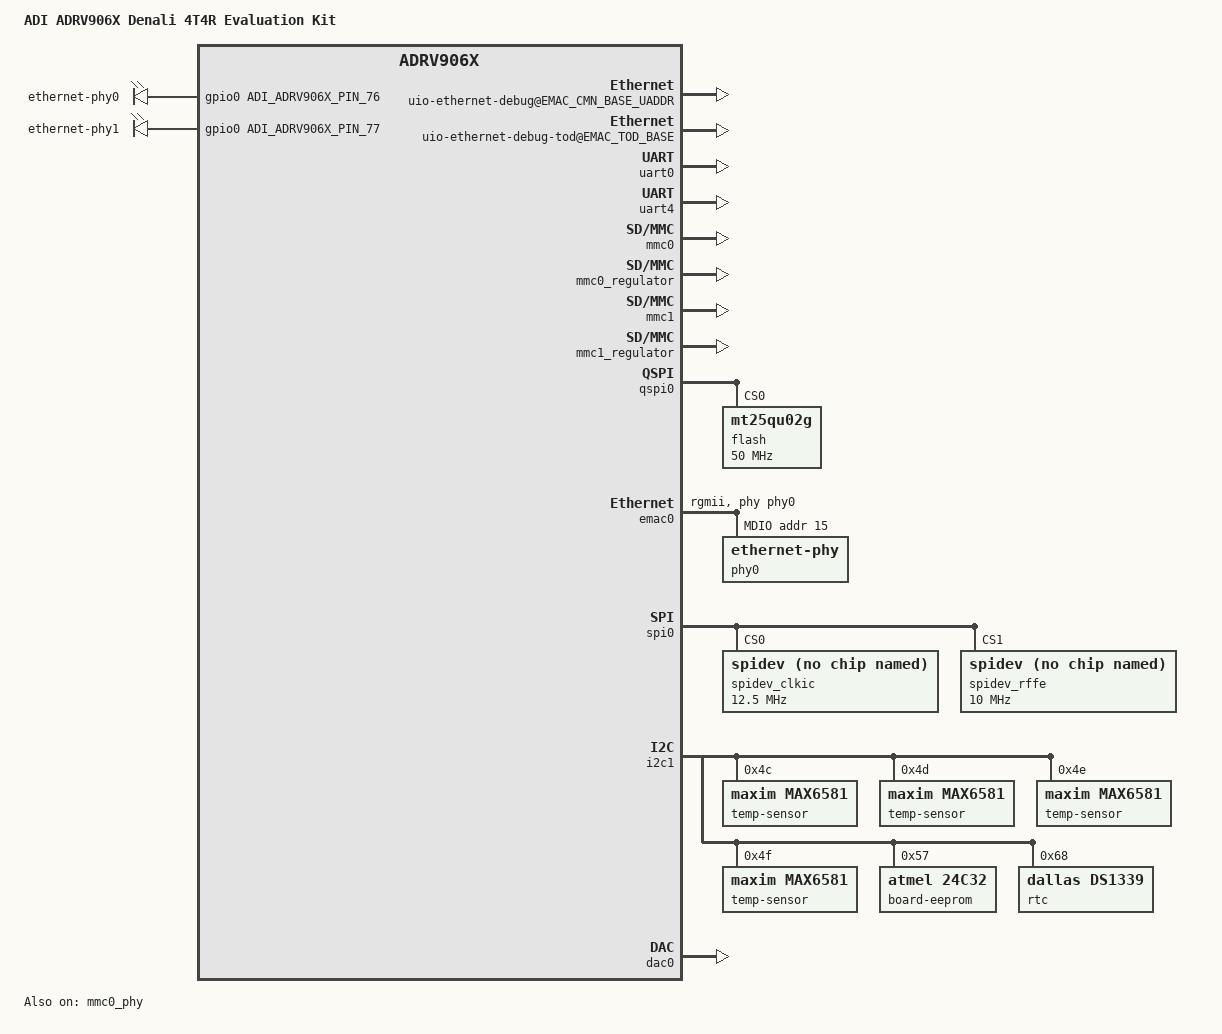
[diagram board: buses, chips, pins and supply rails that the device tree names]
// SPDX-License-Identifier: GPL-2.0
/*
 * Copyright (c) 2023, Analog Devices Incorporated, All Rights Reserved
 */

#include "adrv906x.dtsi"
#include "adrv906x-sysc.dtsi"
#include "adrv906x-protium.dtsi"
#include "adrv906x-eth-4t4r.dtsi"

/ {
	model = "ADI ADRV906X Denali 4T4R Evaluation Kit";
	compatible = "adi,adrv906x-denali-4", "adi,adrv906x";

	chosen {
		bootargs = "console=ttyAMA0,115200n8 earlycon=pl011,0x20060000 rootwait uio_pdrv_genirq.of_id=generic-uio panic=-1 reboot=w";
		stdout-path = &uart0;
	};

	uio-ethernet-debug@EMAC_CMN_BASE_UADDR {
		compatible = "generic-uio";
		reg = <EMAC_CMN_BASE 0x000B0000>;
	};

	uio-ethernet-debug-tod@EMAC_TOD_BASE {
		compatible = "generic-uio";
		reg = <EMAC_TOD_BASE 0xff>;
	};

	uio-ndma@NDMA_0_RX_BASE_UADDR {
		compatible = "generic-uio";
		reg = <NDMA_0_RX_BASE 0x9C0 NDMA_0_TX_BASE 0x14
			   NDMA_1_RX_BASE 0x9C0 NDMA_1_TX_BASE 0x14>;
	};

	leds: gpio-leds {
		compatible = "gpio-leds";
		ethernet-phy0 {
			gpios = <&gpio0 ADI_ADRV906X_PIN_76 GPIO_ACTIVE_HIGH>;
			default-state = "off";
			linux,default-trigger = "2b300000.adrv906x_net--1:00:link";
		};
		ethernet-phy1 {
			gpios = <&gpio0 ADI_ADRV906X_PIN_77 GPIO_ACTIVE_HIGH>;
			default-state = "off";
			linux,default-trigger = "2b300000.adrv906x_net--1:01:link";
		};
	};
};

&uart0 {
	status = "okay";
};

/* Remove CTSIN and RTSOUT. CTSIN conflicts with GPIO 51 below */
&pinctrl_uart4 {
	adi,pins = <
	UART4_RXSIN_PIN		(ADI_CONFIG_ENABLE_SCHMITT_TRIGGER)
	UART4_TXSOUT_PIN	(ADI_CONFIG_NO_PULL  | ADI_CONFIG_DRIVE_STRENGTH_4)
	>;
};

&uart4 {
	status = "okay";
};

&mmc0 {
	status = "okay";
};

&mmc0_regulator {
	status = "okay";
};

&mmc0_phy {
	status = "okay";
};

/* BRINGUP TODO: Remove when 50MHz SD is supported */
&pinctrl_mmc1_sd {
	adi,pins = <
		SD_CLK_SEL_PIN		(ADI_CONFIG_NO_PULL                | ADI_CONFIG_DRIVE_STRENGTH_4)
		SD_CMD_PIN		(ADI_CONFIG_ENABLE_SCHMITT_TRIGGER | ADI_CONFIG_DRIVE_STRENGTH_4)
		SD_DATA0_PIN		(ADI_CONFIG_ENABLE_SCHMITT_TRIGGER | ADI_CONFIG_DRIVE_STRENGTH_1)
		SD_DATA1_PIN		(ADI_CONFIG_ENABLE_SCHMITT_TRIGGER | ADI_CONFIG_DRIVE_STRENGTH_1)
		SD_DATA2_PIN		(ADI_CONFIG_ENABLE_SCHMITT_TRIGGER | ADI_CONFIG_DRIVE_STRENGTH_1)
		SD_DATA3_PIN		(ADI_CONFIG_ENABLE_SCHMITT_TRIGGER | ADI_CONFIG_DRIVE_STRENGTH_1)
		SD_CARDDETECT_PIN	(ADI_CONFIG_ENABLE_SCHMITT_TRIGGER | ADI_CONFIG_DRIVE_STRENGTH_4)
	>;
	};

&mmc1 {
	status = "okay";
	/* BRINGUP TODO: Set this back to 50MHz */
	max-frequency = <25000000>;
};

&mmc1_regulator {
	status = "okay";
};

&qspi0 {
	status = "okay";
	storage,flash-handle = <&flash>;

	flash: mt25q@0 {
		compatible = "mt25qu02g", "jedec,spi-nor";
		spi-max-frequency = <50000000>;
		reg = <0>;
		spi-tx-bus-width = <4>;
		spi-rx-bus-width = <4>;
		adi,enable-dma;

		#include "adrv906x-nor-flash-part.dtsi"
	};
};

&qspi0_dma {
	status = "okay";
};

&emac0 {
	status = "okay";
	phy-mode = "rgmii";

	phy-handle = <&phy0>;

	mdio0 {
		#address-cells = <1>;
		#size-cells = <0>;
		compatible = "snps,dwmac-mdio";
		phy0: ethernet-phy@0 {
			reg = <15>;
		};
        };
};

&spi0 {
	status = "okay";

	spidev_clkic@0 {
		compatible = "linux,spidev";
		spi-max-frequency = <12500000>;
		reg = <0>;
	};

	spidev_rffe@1 {
		compatible = "linux,spidev";
		spi-max-frequency = <10000000>;
		reg = <1>;
	};
};

&i2c1 {
	status = "okay";

	/* MAX6581 temp sensor. Bus addr can vary from board
	 * to board, so four different entries are needed.
	 */
	temp-sensor@4c {
		compatible = "maxim,max6581";
		reg = <0x4c>;
		smbus-timeout-disable;
		extended-range-enable;
		resistance-cancellation;
		alert-mask = <0x7f>; 		/* Ignore all alerts */
		over-temperature-mask = <0x7f>;	/* Ignore all alerts */
	};
	temp-sensor@4d {
		compatible = "maxim,max6581";
		reg = <0x4d>;
		smbus-timeout-disable;
		extended-range-enable;
		resistance-cancellation;
		alert-mask = <0x7f>;		/* Ignore all alerts */
		over-temperature-mask = <0x7f>;	/* Ignore all alerts */
	};
	temp-sensor@4e {
		compatible = "maxim,max6581";
		reg = <0x4e>;
		smbus-timeout-disable;
		extended-range-enable;
		resistance-cancellation;
		alert-mask = <0x7f>;        /* Ignore all alerts */
		over-temperature-mask = <0x7f>; /* Ignore all alerts */
	};
	temp-sensor@4f {
		compatible = "maxim,max6581";
		reg = <0x4f>;
		smbus-timeout-disable;
		extended-range-enable;
		resistance-cancellation;
		alert-mask = <0x7f>;		/* Ignore all alerts */
		over-temperature-mask = <0x7f>;	/* Ignore all alerts */
	};

	board-eeprom@57 {
		compatible = "atmel,24c32";
		reg = <0x57>;
	};

	rtc@68 {
		compatible = "dallas,ds1339";
		reg = <0x68>;
	};
};

&dac0 {
	status = "okay";
	pinctrl-names = "default";
	pinctrl-0 = <&pinctrl_pwm13>;
};

&pinctrl_hog {
	adi,pins = <
	/* Pins 7-17: RFFE signals */
	RFFE_0_PIN		(ADI_CONFIG_NO_PULL  | ADI_CONFIG_DRIVE_STRENGTH_4)
	RFFE_1_PIN		(ADI_CONFIG_NO_PULL  | ADI_CONFIG_DRIVE_STRENGTH_4)
	RFFE_2_PIN		(ADI_CONFIG_NO_PULL  | ADI_CONFIG_DRIVE_STRENGTH_4)
	RFFE_3_PIN		(ADI_CONFIG_NO_PULL  | ADI_CONFIG_DRIVE_STRENGTH_4)
	RFFE_4_PIN		(ADI_CONFIG_NO_PULL  | ADI_CONFIG_DRIVE_STRENGTH_4)
	RFFE_5_PIN		(ADI_CONFIG_NO_PULL  | ADI_CONFIG_DRIVE_STRENGTH_4)
	RFFE_6_PIN		(ADI_CONFIG_NO_PULL  | ADI_CONFIG_DRIVE_STRENGTH_4)
	RFFE_7_PIN		(ADI_CONFIG_NO_PULL  | ADI_CONFIG_DRIVE_STRENGTH_4)
	RFFE_8_PIN		(ADI_CONFIG_NO_PULL  | ADI_CONFIG_DRIVE_STRENGTH_4)
	RFFE_9_PIN		(ADI_CONFIG_NO_PULL  | ADI_CONFIG_DRIVE_STRENGTH_4)
	RFFE_10_PIN		(ADI_CONFIG_NO_PULL  | ADI_CONFIG_DRIVE_STRENGTH_4)

	/* Pin 51: Board pushbutton */
	A55_GPIO_NS_51_PIN	(ADI_CONFIG_ENABLE_SCHMITT_TRIGGER)

	/* Pins 56-59,65: QSFP interface */
	A55_GPIO_NS_56_PIN	(ADI_CONFIG_NO_PULL  | ADI_CONFIG_DRIVE_STRENGTH_4)
	A55_GPIO_NS_57_PIN	(ADI_CONFIG_ENABLE_SCHMITT_TRIGGER)
	A55_GPIO_NS_58_PIN	(ADI_CONFIG_NO_PULL  | ADI_CONFIG_DRIVE_STRENGTH_4)
	A55_GPIO_NS_59_PIN	(ADI_CONFIG_ENABLE_SCHMITT_TRIGGER)
	A55_GPIO_NS_65_PIN	(ADI_CONFIG_NO_PULL  | ADI_CONFIG_DRIVE_STRENGTH_4)

	/* Pins 66-73: Debug out signals */
	GPIO_DEBUG_0_PIN	(ADI_CONFIG_NO_PULL  | ADI_CONFIG_DRIVE_STRENGTH_4)
	GPIO_DEBUG_1_PIN	(ADI_CONFIG_NO_PULL  | ADI_CONFIG_DRIVE_STRENGTH_4)
	GPIO_DEBUG_2_PIN	(ADI_CONFIG_NO_PULL  | ADI_CONFIG_DRIVE_STRENGTH_4)
	GPIO_DEBUG_3_PIN	(ADI_CONFIG_NO_PULL  | ADI_CONFIG_DRIVE_STRENGTH_4)
	GPIO_DEBUG_4_PIN	(ADI_CONFIG_NO_PULL  | ADI_CONFIG_DRIVE_STRENGTH_4)
	GPIO_DEBUG_5_PIN	(ADI_CONFIG_NO_PULL  | ADI_CONFIG_DRIVE_STRENGTH_4)
	GPIO_DEBUG_6_PIN	(ADI_CONFIG_NO_PULL  | ADI_CONFIG_DRIVE_STRENGTH_4)
	GPIO_DEBUG_7_PIN	(ADI_CONFIG_NO_PULL  | ADI_CONFIG_DRIVE_STRENGTH_4)

	/* Pins 74-77: Board LEDs */
	A55_GPIO_NS_74_PIN	(ADI_CONFIG_NO_PULL  | ADI_CONFIG_DRIVE_STRENGTH_4)
	A55_GPIO_NS_75_PIN	(ADI_CONFIG_NO_PULL  | ADI_CONFIG_DRIVE_STRENGTH_4)
	A55_GPIO_NS_76_PIN	(ADI_CONFIG_NO_PULL  | ADI_CONFIG_DRIVE_STRENGTH_4)
	A55_GPIO_NS_77_PIN	(ADI_CONFIG_NO_PULL  | ADI_CONFIG_DRIVE_STRENGTH_4)

	/* Pins 42-44,46,51: CPU trace
	 * Enable if needed.
	 * Conflicts with board pushbutton above (pin 51).
	 * Conflicts with SPI_MASTER0_SELB1 above (pin 42).
	 *
	 * TRACE_D0_PIN		(ADI_CONFIG_NO_PULL  | ADI_CONFIG_DRIVE_STRENGTH_4)
	 * TRACE_D1_PIN		(ADI_CONFIG_NO_PULL  | ADI_CONFIG_DRIVE_STRENGTH_4)
	 * TRACE_D2_PIN		(ADI_CONFIG_NO_PULL  | ADI_CONFIG_DRIVE_STRENGTH_4)
	 * TRACE_D3_PIN		(ADI_CONFIG_NO_PULL  | ADI_CONFIG_DRIVE_STRENGTH_4)
	 * TRACE_CLK_PIN	(ADI_CONFIG_NO_PULL  | ADI_CONFIG_DRIVE_STRENGTH_4)
	 */

	/* Pin 134: Ethernet recovered clock */
	ETHERNET_RECOVERED_CLK_PIN (ADI_CONFIG_NO_PULL | ADI_CONFIG_DRIVE_STRENGTH_4)
	>;
};
